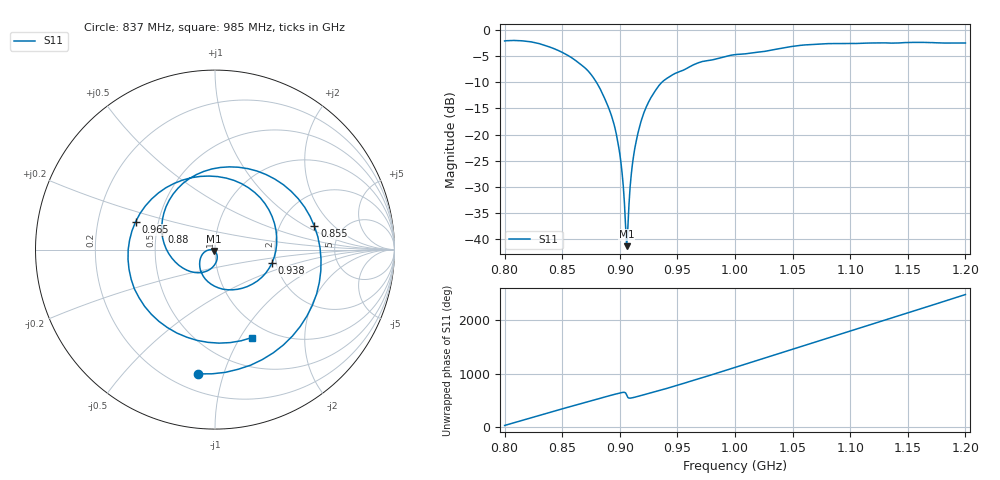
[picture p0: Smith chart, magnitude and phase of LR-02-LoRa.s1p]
! NanoVNA-App
! Date: 2026-05-22 19:04:49
! Start: 800MHz Stop: 1.2GHz Points: 401
! S-Parameter data: F S11
# Hz S RI R 50
!  Frequency  S11_Real  S11_Imag
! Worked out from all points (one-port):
!   401 points, 800 MHz to 1.2 GHz, reference 50 ohm
!   lowest |S11| = -41.3 dB at 906 MHz (marker M1), VSWR 1.02, Z = 49.6 - j0.738 ohm
!   |S11| at or under -10 dB: 879.7 MHz to 936.6 MHz (56.98 MHz wide, 6.27 % of centre)
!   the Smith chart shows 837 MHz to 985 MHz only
!   S11 on the Smith chart (normalised r, x): 837 MHz: 0.31, -0.83; 855 MHz: 3.13, +1.20; 880 MHz: 0.53, +0.12; 938 MHz: 1.90, -0.32; 965 MHz: 0.37, +0.15; 985 MHz: 0.82, -1.13
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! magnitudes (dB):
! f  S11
! 800 MHz  -2.1
! 837 MHz  -3.1
! 850 MHz  -4.3
! 855 MHz  -4.9
! 871 MHz  -7.5
! 880 MHz  -10.1
! 893 MHz  -16.6
! 897 MHz  -19.9
! 900 MHz  -23.7
! 902 MHz  -27.4
! 904 MHz  -33.0
! 905 MHz  -37.4
! 906 MHz  -41.3
! 907 MHz  -37.7
! 908 MHz  -33.2
! 910 MHz  -27.5
! 912 MHz  -24.0
! 917 MHz  -18.6
! 925 MHz  -13.8
! 938 MHz  -9.7
! 950 MHz  -8.1
! 965 MHz  -6.6
! 985 MHz  -5.5
! 1 GHz  -4.7
! 1.05 GHz  -3.2
! 1.1 GHz  -2.6
! 1.15 GHz  -2.4
! 1.2 GHz  -2.5
